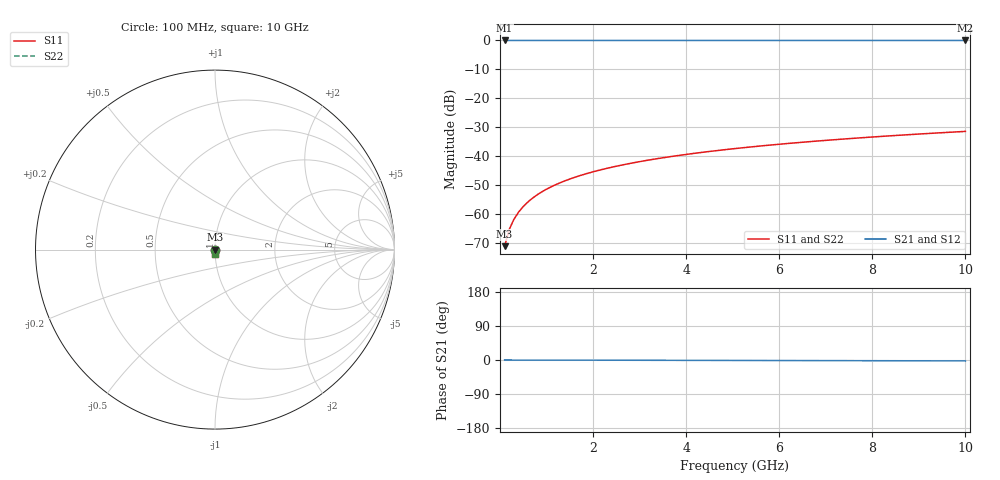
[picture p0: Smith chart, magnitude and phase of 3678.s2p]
# Hz S RI R 50.00
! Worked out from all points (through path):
!   100 points, 100 MHz to 10 GHz, reference 50 ohm
!   highest |S21| = 0.00 dB at 100 MHz (marker M1); lowest = 0.0 dB at 10 GHz (marker M2)
!   lowest |S11| = -71.3 dB at 100 MHz (marker M3), VSWR 1.00, Z = 50 - j0.0265 ohm
!   |S11| at or under -10 dB: start of sweep to end of sweep
!   |S22| runs from -71.3 to -31.5 dB; largest |S21 - S12| = 0
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1e8  6.69e-05 -0.000265  0.9999 -0.000406  0.9999 -0.000406  6.69e-05 -0.000265
2e8  6.67e-05 -0.00053  0.9999 -0.000812  0.9999 -0.000812  6.67e-05 -0.00053
3e8  6.62e-05 -0.000795  0.9999 -0.00122  0.9999 -0.00122  6.62e-05 -0.000795
4e8  6.54e-05 -0.00106  0.9999 -0.00162  0.9999 -0.00162  6.54e-05 -0.00106
5e8  6.44e-05 -0.00133  0.9999 -0.00203  0.9999 -0.00203  6.44e-05 -0.00133
6e8  6.31e-05 -0.00159  0.9999 -0.00244  0.9999 -0.00244  6.31e-05 -0.00159
7e8  6.15e-05 -0.00186  0.9999 -0.00284  0.9999 -0.00284  6.15e-05 -0.00186
8e8  5.98e-05 -0.00212  0.9999 -0.00325  0.9999 -0.00325  5.98e-05 -0.00212
9e8  5.78e-05 -0.00239  0.9999 -0.00365  0.9999 -0.00365  5.78e-05 -0.00239
1.1e9  5.32e-05 -0.00292  0.9999 -0.00447  0.9999 -0.00447  5.32e-05 -0.00292
1.4e9  4.45e-05 -0.00371  0.9999 -0.00568  0.9999 -0.00568  4.45e-05 -0.00371
1.8e9  3e-05 -0.00477  0.9999 -0.00731  0.9999 -0.00731  3e-05 -0.00477
2.1e9  1.67e-05 -0.00557  0.9999 -0.00853  0.9999 -0.00853  1.67e-05 -0.00557
2.5e9  -3.94e-06 -0.00663  0.9998 -0.0102  0.9998 -0.0102  -3.94e-06 -0.00663
2.9e9  -2.81e-05 -0.00769  0.9998 -0.0118  0.9998 -0.0118  -2.81e-05 -0.00769
3.4e9  -6.32e-05 -0.00902  0.9998 -0.0138  0.9998 -0.0138  -6.32e-05 -0.00902
4.2e9  -0.000131 -0.0111  0.9997 -0.0171  0.9997 -0.0171  -0.000131 -0.0111
5.1e9  -0.000223 -0.0135  0.9996 -0.0207  0.9996 -0.0207  -0.000223 -0.0135
5.9e9  -0.00032 -0.0157  0.9995 -0.024  0.9995 -0.024  -0.00032 -0.0157
6.7e9  -0.000431 -0.0178  0.9994 -0.0272  0.9994 -0.0272  -0.000431 -0.0178
8.4e9  -0.000713 -0.0223  0.9991 -0.0342  0.9991 -0.0342  -0.000713 -0.0223
1e10  -0.00104 -0.0266  0.9987 -0.0407  0.9987 -0.0407  -0.00104 -0.0266
